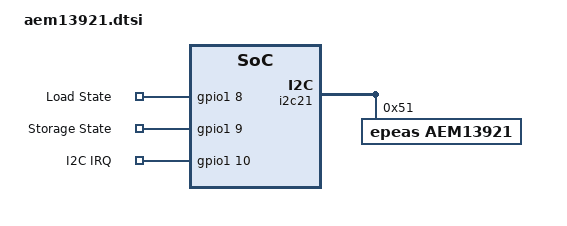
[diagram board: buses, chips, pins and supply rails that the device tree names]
/ {
	aem_irqs: aem_irqs {
		compatible = "gpio-keys";
		load: load{
			gpios = <&gpio1 8 (GPIO_ACTIVE_HIGH | GPIO_PULL_DOWN)>;
			label = "Load State";
		};
		sto: sto{
			gpios = <&gpio1 9 (GPIO_ACTIVE_HIGH | GPIO_PULL_DOWN)>;
			label = "Storage State";
		};
		i2c_irq: i2c_irq{
			gpios = <&gpio1 10 (GPIO_ACTIVE_HIGH | GPIO_PULL_DOWN)>;
			label = "I2C IRQ";
		};
	};
};


&i2c21 {
	aem13921: aem13921@51{
		compatible="epeas,aem13921";
		reg = <0x51>;
		status = "okay";
		//zephyr,deferred-init;
	};
};

&gpio1 {
	status = "okay";
};
